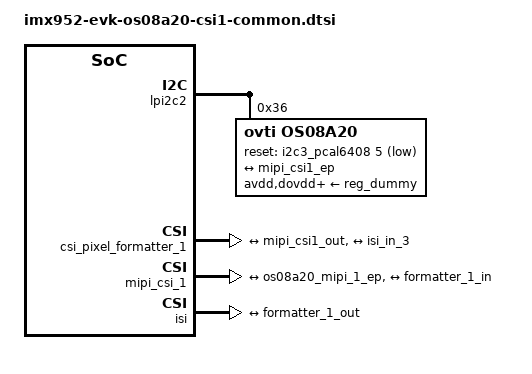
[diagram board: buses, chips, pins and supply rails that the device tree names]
// SPDX-License-Identifier: (GPL-2.0+ OR MIT)
/*
 * Copyright 2026 NXP
 */

#include <dt-bindings/gpio/gpio.h>
#include "imx952-clock.h"

&lpi2c2 {
	#address-cells = <1>;
	#size-cells = <0>;
	status = "okay";

	os08a20: os08a20_mipi@36 {
		compatible = "ovti,os08a20";
		reg = <0x36>;
		clocks = <&clk_dummy>;
		reset-gpios = <&i2c3_pcal6408 5 GPIO_ACTIVE_LOW>;
		avdd-supply = <&reg_dummy>;
		dovdd-supply = <&reg_dummy>;
		dvdd-supply = <&reg_dummy>;
		orientation = <2>;
		rotation = <0>;
		status = "okay";

		port {
			os08a20_mipi_1_ep: endpoint {
				remote-endpoint = <&mipi_csi1_ep>;
				data-lanes = DATA_LANES;
				clock-lanes = <0>;
			};
		};
	};
};

&csi_pixel_formatter_1 {
	status = "okay";

	ports {
		#address-cells = <1>;
		#size-cells = <0>;

		port@0 {
			reg = <0>;

			formatter_1_in: endpoint {
				remote-endpoint = <&mipi_csi1_out>;
			};
		};

		port@1 {
			reg = <1>;

			formatter_1_out: endpoint {
				remote-endpoint = <&isi_in_3>;
			};
		};
	};
};

&mipi_csi_1 {
	status = "okay";

	ports {
		#address-cells = <1>;
		#size-cells = <0>;

		port@0 {
			reg = <0>;

			mipi_csi1_ep: endpoint {
				remote-endpoint = <&os08a20_mipi_1_ep>;
				data-lanes = DATA_LANES;
				clock-lanes = <0>;
			};
		};

		port@1 {
			reg = <1>;

			mipi_csi1_out: endpoint {
				remote-endpoint = <&formatter_1_in>;
			};
		};
	};
};

&isi {
	status = "okay";

	ports {
		#address-cells = <1>;
		#size-cells = <0>;

		port@3 {
			reg = <3>;

			isi_in_3: endpoint {
				remote-endpoint = <&formatter_1_out>;
			};
		};
	};
};
